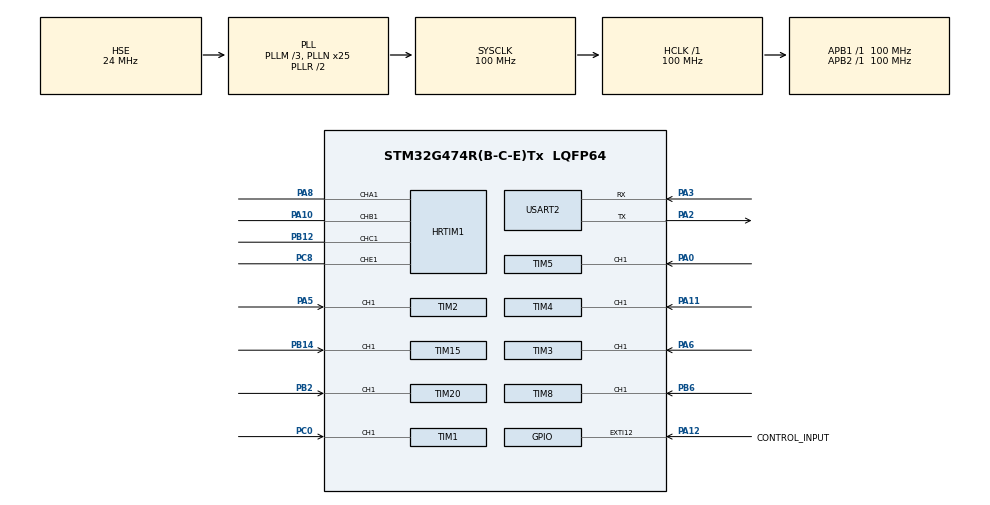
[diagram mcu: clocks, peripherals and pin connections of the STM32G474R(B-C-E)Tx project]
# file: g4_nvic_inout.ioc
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HRTIM1.BurstDMAconfig-Output_TA1=__NULL
HRTIM1.BurstMode-Output_TA1=HRTIM_TIMERBURSTMODE_MAINTAINCLOCK
HRTIM1.CompareUnit1-Output_TA1=HRTIM_COMPAREUNIT_1
HRTIM1.CompareUnit1-Output_TB1=HRTIM_COMPAREUNIT_1
HRTIM1.CompareUnit1-Output_TC1=HRTIM_COMPAREUNIT_1
HRTIM1.CompareUnit1-Output_TE1=HRTIM_COMPAREUNIT_1
HRTIM1.CompareValue1-Output_TE1=0xFFDF
HRTIM1.Enable=HRTIM_BURSTMODECTL_DISABLED
HRTIM1.Event_EEV1=__NULL
HRTIM1.NumberDMARequests_TA=0
HRTIM1.NumberDMARequests_TB=0
HRTIM1.NumberDMARequests_TC=0
HRTIM1.NumberInterruptRequests-Output_TA1=0
HRTIM1.NumberResetSource1-Output_TA1=1
HRTIM1.NumberResetSource1-Output_TB1=1
HRTIM1.NumberResetSource1-Output_TC1=1
HRTIM1.NumberResetSource1-Output_TE1=1
HRTIM1.NumberResetTrigger-Output_TA1=0
HRTIM1.NumberSetSource1-Output_TA1=1
HRTIM1.NumberSetSource1-Output_TB1=1
HRTIM1.NumberSetSource1-Output_TC1=1
HRTIM1.NumberSetSource1-Output_TE1=1
HRTIM1.NumberUpdateTrigger-Output_TA1=1
HRTIM1.NumberUpdateTrigger-Output_TB1=1
HRTIM1.NumberUpdateTrigger-Output_TC1=1
HRTIM1.NumberUpdateTrigger-Output_TE1=1
HRTIM1.PreloadEnable-Output_TA1=HRTIM_PRELOAD_ENABLED
HRTIM1.PreloadEnable-Output_TB1=HRTIM_PRELOAD_ENABLED
HRTIM1.PreloadEnable-Output_TC1=HRTIM_PRELOAD_ENABLED
HRTIM1.PreloadEnable-Output_TE1=HRTIM_PRELOAD_ENABLED
HRTIM1.PrescalerRatio_TA=HRTIM_PRESCALERRATIO_DIV1
HRTIM1.PrescalerRatio_TB=HRTIM_PRESCALERRATIO_DIV1
HRTIM1.PrescalerRatio_TC=HRTIM_PRESCALERRATIO_DIV1
HRTIM1.PrescalerRatio_TE=HRTIM_PRESCALERRATIO_DIV1
HRTIM1.ReSyncUpdate-Output_TA1=HRTIM_TIMERESYNC_UPDATE_CONDITIONAL
HRTIM1.ReSyncUpdate-Output_TB1=HRTIM_TIMERESYNC_UPDATE_CONDITIONAL
HRTIM1.ReSyncUpdate-Output_TC1=HRTIM_TIMERESYNC_UPDATE_CONDITIONAL
HRTIM1.ReSyncUpdate-Output_TE1=HRTIM_TIMERESYNC_UPDATE_CONDITIONAL
HRTIM1.RepetitionUpdate-Output_TA1=HRTIM_UPDATEONREPETITION_ENABLED
HRTIM1.RepetitionUpdate-Output_TB1=HRTIM_UPDATEONREPETITION_ENABLED
HRTIM1.RepetitionUpdate-Output_TC1=HRTIM_UPDATEONREPETITION_ENABLED
HRTIM1.RepetitionUpdate-Output_TE1=HRTIM_UPDATEONREPETITION_ENABLED
HRTIM1.ResetOutput1_Source1-Output_TA1=HRTIM_OUTPUTRESET_TIMCMP1
HRTIM1.ResetOutput1_Source1-Output_TB1=HRTIM_OUTPUTRESET_TIMCMP1
HRTIM1.ResetOutput1_Source1-Output_TC1=HRTIM_OUTPUTRESET_TIMCMP1
HRTIM1.ResetOutput1_Source1-Output_TE1=HRTIM_OUTPUTRESET_TIMCMP1
HRTIM1.ResetUpdate-Output_TA1=HRTIM_TIMUPDATEONRESET_ENABLED
HRTIM1.ResetUpdate-Output_TB1=HRTIM_TIMUPDATEONRESET_ENABLED
HRTIM1.ResetUpdate-Output_TC1=HRTIM_TIMUPDATEONRESET_ENABLED
HRTIM1.ResetUpdate-Output_TE1=HRTIM_TIMUPDATEONRESET_ENABLED
HRTIM1.SetOutput1_Source1-Output_TA1=HRTIM_OUTPUTSET_TIMPER
HRTIM1.SetOutput1_Source1-Output_TB1=HRTIM_OUTPUTSET_TIMPER
HRTIM1.SetOutput1_Source1-Output_TC1=HRTIM_OUTPUTSET_TIMPER
HRTIM1.SetOutput1_Source1-Output_TE1=HRTIM_OUTPUTSET_TIMPER
HRTIM1.UpdateGating-Output_TA1=HRTIM_UPDATEGATING_INDEPENDENT
HRTIM1.UpdateGating-Output_TB1=HRTIM_UPDATEGATING_INDEPENDENT
HRTIM1.UpdateGating-Output_TC1=HRTIM_UPDATEGATING_INDEPENDENT
HRTIM1.UpdateGating-Output_TE1=HRTIM_UPDATEGATING_INDEPENDENT
HRTIM1.UpdateTrigger1-Output_TA1=HRTIM_TIMUPDATETRIGGER_TIMER_A
HRTIM1.UpdateTrigger1-Output_TB1=HRTIM_TIMUPDATETRIGGER_NONE
HRTIM1.UpdateTrigger1-Output_TC1=HRTIM_TIMUPDATETRIGGER_NONE
HRTIM1.UpdateTrigger1-Output_TE1=HRTIM_TIMUPDATETRIGGER_NONE
Mcu.Family=STM32G4
Mcu.Name=STM32G474R(B-C-E)Tx
Mcu.Package=LQFP64
NVIC.PriorityGroup=NVIC_PRIORITYGROUP_4
NVIC.TIM1_BRK_TIM15_IRQn=true\:0\:0\:false\:false\:true\:true\:true\:true
NVIC.TIM20_BRK_IRQn=true\:0\:0\:false\:false\:true\:true\:true\:true
NVIC.TIM2_IRQn=true\:0\:0\:false\:false\:true\:true\:true\:true
NVIC.TIM3_IRQn=true\:0\:0\:false\:false\:true\:true\:true\:true
NVIC.TIM4_IRQn=true\:0\:0\:false\:false\:true\:true\:true\:true
NVIC.TIM5_IRQn=true\:0\:0\:false\:false\:true\:true\:true\:true
NVIC.TIM8_BRK_IRQn=true\:0\:0\:false\:false\:true\:true\:true\:true
NVIC.USART2_IRQn=true\:0\:0\:false\:false\:true\:true\:true\:true
PA0.Signal=S_TIM5_CH1
PA10.Mode=Output_TB1
PA10.Signal=HRTIM1_CHB1
PA11.Signal=S_TIM4_CH1
PA12.GPIO_Label=CONTROL_INPUT
PA12.Signal=GPXTI12
PA2.Mode=Asynchronous
PA2.Signal=USART2_TX
PA3.Mode=Asynchronous
PA3.Signal=USART2_RX
PA5.Signal=S_TIM2_CH1
PA6.Signal=S_TIM3_CH1
PA8.Mode=Output_TA1
PA8.Signal=HRTIM1_CHA1
PB12.Mode=Output_TC1
PB12.Signal=HRTIM1_CHC1
PB14.Signal=S_TIM15_CH1
PB2.Signal=S_TIM20_CH1
PB6.Signal=S_TIM8_CH1
PC0.Signal=S_TIM1_CH1
PC8.Mode=Output_TE1
PC8.Signal=HRTIM1_CHE1
PF0-OSC_IN.Mode=HSE-External-Oscillator
PF0-OSC_IN.Signal=RCC_OSC_IN
PF1-OSC_OUT.Mode=HSE-External-Oscillator
PF1-OSC_OUT.Signal=RCC_OSC_OUT
ProjectManager.HeapSize=0x200
ProjectManager.StackSize=0x400
ProjectManager.TargetToolchain=STM32CubeIDE
RCC.ADC12Freq_Value=100000000
RCC.ADC345Freq_Value=100000000
RCC.AHBFreq_Value=100000000
RCC.APB1Freq_Value=100000000
RCC.APB1TimFreq_Value=100000000
RCC.APB2Freq_Value=100000000
RCC.APB2TimFreq_Value=100000000
RCC.CortexFreq_Value=100000000
RCC.EXTERNAL_CLOCK_VALUE=12288000
RCC.HCLKFreq_Value=100000000
RCC.HSE_VALUE=24000000
RCC.HSI48_VALUE=48000000
RCC.HSI_VALUE=16000000
RCC.LSE_VALUE=32768
RCC.PLLM=RCC_PLLM_DIV3
RCC.PLLN=25
RCC.PLLSourceVirtual=RCC_PLLSOURCE_HSE
RCC.RTCClockSelection=RCC_RTCCLKSOURCE_LSE
RCC.SYSCLKFreq_VALUE=100000000
RCC.SYSCLKSource=RCC_SYSCLKSOURCE_PLLCLK
RCC.USBFreq_Value=100000000
RCC.VCOOutputFreq_Value=200000000
SH.S_TIM15_CH1.0=TIM15_CH1,PWM_Input_1
SH.S_TIM1_CH1.0=TIM1_CH1,PWM_Input_1
SH.S_TIM20_CH1.0=TIM20_CH1,PWM_Input_1
SH.S_TIM2_CH1.0=TIM2_CH1,PWM_Input_1
SH.S_TIM3_CH1.0=TIM3_CH1,PWM_Input_1
SH.S_TIM4_CH1.0=TIM4_CH1,PWM_Input_1
SH.S_TIM5_CH1.0=TIM5_CH1,PWM_Input_1
SH.S_TIM8_CH1.0=TIM8_CH1,PWM_Input_1
TIM1.AutoReloadPreload=TIM_AUTORELOAD_PRELOAD_ENABLE
TIM1.Prescaler=0
TIM1.TIM_MasterOutputTrigger=TIM_TRGO_RESET
TIM1.TIM_MasterOutputTrigger2=TIM_TRGO2_RESET
TIM1.TIM_MasterSlaveMode=TIM_MASTERSLAVEMODE_DISABLE
TIM15.AutoReloadPreload=TIM_AUTORELOAD_PRELOAD_ENABLE
TIM15.Prescaler=0
TIM2.AutoReloadPreload=TIM_AUTORELOAD_PRELOAD_ENABLE
TIM2.ICFilter_1=0
TIM2.ICFilter_2=0
TIM2.Prescaler=0
TIM20.AutoReloadPreload=TIM_AUTORELOAD_PRELOAD_ENABLE
TIM20.Prescaler=0
TIM3.AutoReloadPreload=TIM_AUTORELOAD_PRELOAD_ENABLE
TIM3.Prescaler=0
TIM4.AutoReloadPreload=TIM_AUTORELOAD_PRELOAD_ENABLE
TIM4.Prescaler=0
TIM5.AutoReloadPreload=TIM_AUTORELOAD_PRELOAD_ENABLE
TIM5.Prescaler=0
TIM8.AutoReloadPreload=TIM_AUTORELOAD_PRELOAD_ENABLE
TIM8.Prescaler=0
USART2.FIFOMode=FIFOMODE_ENABLE
USART2.Parity=PARITY_NONE
USART2.VirtualMode-Asynchronous=VM_ASYNC
USART2.WordLength=WORDLENGTH_8B
VP_SYS_VS_DBSignals.Mode=DisableDeadBatterySignals
VP_TIM15_VS_ClockSourceINT.Mode=Internal
VP_TIM1_VS_ClockSourceINT.Mode=Internal
VP_TIM20_VS_ClockSourceINT.Mode=Internal
VP_TIM2_VS_ClockSourceINT.Mode=Internal
VP_TIM3_VS_ClockSourceINT.Mode=Internal
VP_TIM4_VS_ClockSourceINT.Mode=Internal
VP_TIM5_VS_ClockSourceINT.Mode=Internal
VP_TIM8_VS_ClockSourceINT.Mode=Internal
board=NUCLEO-G474RE

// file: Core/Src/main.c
/* USER CODE BEGIN Header */
/**
  ******************************************************************************
  * @file           : main.c
  * @brief          : Main program body
  ******************************************************************************
  * @attention
  *
  * Copyright (c) 2025 STMicroelectronics.
  * All rights reserved.
  *
  * This software is licensed under terms that can be found in the LICENSE file
  * in the root directory of this software component.
  * If no LICENSE file comes with this software, it is provided AS-IS.
  *
  ******************************************************************************
  */
/* USER CODE END Header */
#include "main.h"

/* USER CODE BEGIN PD */

#define HRTIMA_PER_ADDR (&HRTIM1->sTimerxRegs[HRTIM_TIMERINDEX_TIMER_A].PERxR)
#define HRTIMA_CMP1_ADDR (&HRTIM1->sTimerxRegs[HRTIM_TIMERINDEX_TIMER_A].CMP1xR)

#define HRTIMB_PER_ADDR (&HRTIM1->sTimerxRegs[HRTIM_TIMERINDEX_TIMER_B].PERxR)
#define HRTIMB_CMP1_ADDR (&HRTIM1->sTimerxRegs[HRTIM_TIMERINDEX_TIMER_B].CMP1xR)

#define HRTIMC_PER_ADDR (&HRTIM1->sTimerxRegs[HRTIM_TIMERINDEX_TIMER_C].PERxR)
#define HRTIMC_CMP1_ADDR (&HRTIM1->sTimerxRegs[HRTIM_TIMERINDEX_TIMER_C].CMP1xR)

#define HRTIME_PER_ADDR (&HRTIM1->sTimerxRegs[HRTIM_TIMERINDEX_TIMER_E].PERxR)
#define HRTIME_CMP1_ADDR (&HRTIM1->sTimerxRegs[HRTIM_TIMERINDEX_TIMER_E].CMP1xR)
/* USER CODE END PD */

HRTIM_HandleTypeDef hhrtim1;

TIM_HandleTypeDef htim1;
TIM_HandleTypeDef htim2;
TIM_HandleTypeDef htim3;
TIM_HandleTypeDef htim4;
TIM_HandleTypeDef htim5;
TIM_HandleTypeDef htim8;
TIM_HandleTypeDef htim15;
TIM_HandleTypeDef htim20;

UART_HandleTypeDef huart2;

void SystemClock_Config(void);
static void MX_GPIO_Init(void);
static void MX_TIM1_Init(void);
static void MX_TIM2_Init(void);
static void MX_TIM3_Init(void);
static void MX_TIM4_Init(void);
static void MX_TIM5_Init(void);
static void MX_TIM8_Init(void);
static void MX_TIM15_Init(void);
static void MX_TIM20_Init(void);
static void MX_USART2_UART_Init(void);
static void MX_HRTIM1_Init(void);

/* USER CODE BEGIN 0 */

uint16_t oldPerA = 0, oldDurA = 0, oldPerB = 0, oldDurB = 0, oldPerC = 0, oldDurC = 0, oldPerE = 0, oldDurE = 0;
uint16_t newPeriod = 0;
uint16_t newDuration = 0;
void HAL_TIM_IC_CaptureCallback(TIM_HandleTypeDef *htim)
{
	if(!HAL_GPIO_ReadPin (GPIOA, GPIO_PIN_9))
	{
		// HRTIMA1
		if (htim->Instance == htim2.Instance && htim->Channel == HAL_TIM_ACTIVE_CHANNEL_1)
		{
			newPeriod = HAL_TIM_ReadCapturedValue(htim, TIM_CHANNEL_1);
			newDuration = HAL_TIM_ReadCapturedValue(htim, TIM_CHANNEL_2);

			if (oldPerA > (newPeriod + 100) || oldPerA < (newPeriod - 100))
			{
				HRTIM1->sTimerxRegs[HRTIM_TIMERINDEX_TIMER_A].PERxR  = newPeriod;
				oldPerA = newPeriod;
			}
			if (oldDurA > (newDuration + 100) || oldDurA < (newDuration - 100))
			{
				HRTIM1->sTimerxRegs[HRTIM_TIMERINDEX_TIMER_A].CMP1xR = newDuration;
				oldDurA = newDuration;
			}
		}
		// HRTIMB1
		else if (htim->Instance == htim3.Instance && htim->Channel == HAL_TIM_ACTIVE_CHANNEL_1)
		{
			newPeriod = HAL_TIM_ReadCapturedValue(htim, TIM_CHANNEL_1);
			newDuration = HAL_TIM_ReadCapturedValue(htim, TIM_CHANNEL_2);

			if (oldPerB > (newPeriod + 100) || oldPerB < (newPeriod - 100))
			{
				HRTIM1->sTimerxRegs[HRTIM_TIMERINDEX_TIMER_B].PERxR  = newPeriod;
				oldPerB = newPeriod;
			}
			if (oldDurB > (newDuration + 100) || oldDurB < (newDuration - 100))
			{
				HRTIM1->sTimerxRegs[HRTIM_TIMERINDEX_TIMER_B].CMP1xR = newDuration;
				oldDurB = newDuration;
			}
		}
		// HRTIMC1
		else if (htim->Instance == htim5.Instance && htim->Channel == HAL_TIM_ACTIVE_CHANNEL_1)
		{
			newPeriod = HAL_TIM_ReadCapturedValue(htim, TIM_CHANNEL_1);
			newDuration = HAL_TIM_ReadCapturedValue(htim, TIM_CHANNEL_2);

			if (oldPerC > (newPeriod + 100) || oldPerC < (newPeriod - 100))
			{
				HRTIM1->sTimerxRegs[HRTIM_TIMERINDEX_TIMER_C].PERxR  = newPeriod;
				oldPerC = newPeriod;
			}
			if (oldDurC > (newDuration + 100) || oldDurC < (newDuration - 100))
			{
				HRTIM1->sTimerxRegs[HRTIM_TIMERINDEX_TIMER_C].CMP1xR = newDuration;
				oldDurC = newDuration;
			}
		}
		// HRTIMC1
		else if (htim->Instance == htim15.Instance && htim->Channel == HAL_TIM_ACTIVE_CHANNEL_1)
		{
			newPeriod = HAL_TIM_ReadCapturedValue(htim, TIM_CHANNEL_1);
			newDuration = HAL_TIM_ReadCapturedValue(htim, TIM_CHANNEL_2);

			if (oldPerE > (newPeriod + 100) || oldPerE < (newPeriod - 100))
			{
				HRTIM1->sTimerxRegs[HRTIM_TIMERINDEX_TIMER_E].PERxR  = newPeriod;
				oldPerE = newPeriod;
			}
			if (oldDurE > (newDuration + 100) || oldDurE < (newDuration - 100))
			{
				HRTIM1->sTimerxRegs[HRTIM_TIMERINDEX_TIMER_E].CMP1xR = newDuration;
				oldDurE = newDuration;
			}
		}
	}
	else
	{
		// HRTIMA1
		if (htim->Instance == htim1.Instance && htim->Channel == HAL_TIM_ACTIVE_CHANNEL_1)
		{
			newPeriod = HAL_TIM_ReadCapturedValue(htim, TIM_CHANNEL_1);
			newDuration = HAL_TIM_ReadCapturedValue(htim, TIM_CHANNEL_2);

			if (oldPerA > (newPeriod + 100) || oldPerA < (newPeriod - 100))
			{
				HRTIM1->sTimerxRegs[HRTIM_TIMERINDEX_TIMER_A].PERxR  = newPeriod;
				oldPerA = newPeriod;
			}
			if (oldDurA > (newDuration + 100) || oldDurA < (newDuration - 100))
			{
				HRTIM1->sTimerxRegs[HRTIM_TIMERINDEX_TIMER_A].CMP1xR = newDuration;
				oldDurA = newDuration;
			}
		}
		// HRTIMB1
		else if (htim->Instance == htim4.Instance && htim->Channel == HAL_TIM_ACTIVE_CHANNEL_1)
		{
			newPeriod = HAL_TIM_ReadCapturedValue(htim, TIM_CHANNEL_1);
			newDuration = HAL_TIM_ReadCapturedValue(htim, TIM_CHANNEL_2);

			if (oldPerB > (newPeriod + 100) || oldPerB < (newPeriod - 100))
			{
				HRTIM1->sTimerxRegs[HRTIM_TIMERINDEX_TIMER_B].PERxR  = newPeriod;
				oldPerB = newPeriod;
			}
			if (oldDurB > (newDuration + 100) || oldDurB < (newDuration - 100))
			{
				HRTIM1->sTimerxRegs[HRTIM_TIMERINDEX_TIMER_B].CMP1xR = newDuration;
				oldDurB = newDuration;
			}
		}
		// HRTIMC1
		else if (htim->Instance == htim8.Instance && htim->Channel == HAL_TIM_ACTIVE_CHANNEL_1)
		{
			newPeriod = HAL_TIM_ReadCapturedValue(htim, TIM_CHANNEL_1);
			newDuration = HAL_TIM_ReadCapturedValue(htim, TIM_CHANNEL_2);

			if (oldPerC > (newPeriod + 100) || oldPerC < (newPeriod - 100))
			{
				HRTIM1->sTimerxRegs[HRTIM_TIMERINDEX_TIMER_C].PERxR  = newPeriod;
				oldPerC = newPeriod;
			}
			if (oldDurC > (newDuration + 100) || oldDurC < (newDuration - 100))
			{
				HRTIM1->sTimerxRegs[HRTIM_TIMERINDEX_TIMER_C].CMP1xR = newDuration;
				oldDurC = newDuration;
			}
		}
		// HRTIMC1
		else if (htim->Instance == htim20.Instance && htim->Channel == HAL_TIM_ACTIVE_CHANNEL_1)
		{
			newPeriod = HAL_TIM_ReadCapturedValue(htim, TIM_CHANNEL_1);
			newDuration = HAL_TIM_ReadCapturedValue(htim, TIM_CHANNEL_2);

			if (oldPerE > (newPeriod + 100) || oldPerE < (newPeriod - 100))
			{
				HRTIM1->sTimerxRegs[HRTIM_TIMERINDEX_TIMER_E].PERxR  = newPeriod;
				oldPerE = newPeriod;
			}
			if (oldDurE > (newDuration + 100) || oldDurE < (newDuration - 100))
			{
				HRTIM1->sTimerxRegs[HRTIM_TIMERINDEX_TIMER_E].CMP1xR = newDuration;
				oldDurE = newDuration;
			}
		}
	}
}

/* USER CODE END 0 */

int main(void)
{

  /* MCU Configuration--------------------------------------------------------*/

  /* Reset of all peripherals, Initializes the Flash interface and the Systick. */
  HAL_Init();

  /* Configure the system clock */
  SystemClock_Config();

  /* Initialize all configured peripherals */
  MX_GPIO_Init();
  MX_TIM1_Init();
  MX_TIM2_Init();
  MX_TIM3_Init();
  MX_TIM4_Init();
  MX_TIM5_Init();
  MX_TIM8_Init();
  MX_TIM15_Init();
  MX_TIM20_Init();
  MX_USART2_UART_Init();
  MX_HRTIM1_Init();
  /* USER CODE BEGIN 2 */

//  TEST2: INOUT PWM SIGNAL THROUGH ONLY INTERRUPTS
	HAL_TIM_IC_Start_IT(&htim1, TIM_CHANNEL_1);
	HAL_TIM_IC_Start(&htim1, TIM_CHANNEL_2);

	HAL_TIM_IC_Start_IT(&htim2, TIM_CHANNEL_1);
	HAL_TIM_IC_Start(&htim2, TIM_CHANNEL_2);

	HAL_TIM_IC_Start_IT(&htim3, TIM_CHANNEL_1);
	HAL_TIM_IC_Start(&htim3, TIM_CHANNEL_2);

	HAL_TIM_IC_Start_IT(&htim4, TIM_CHANNEL_1);
	HAL_TIM_IC_Start(&htim4, TIM_CHANNEL_2);

	HAL_TIM_IC_Start_IT(&htim5, TIM_CHANNEL_1);
	HAL_TIM_IC_Start(&htim5, TIM_CHANNEL_2);

	HAL_TIM_IC_Start_IT(&htim8, TIM_CHANNEL_1);
	HAL_TIM_IC_Start(&htim8, TIM_CHANNEL_2);

	HAL_TIM_IC_Start_IT(&htim15, TIM_CHANNEL_1);
	HAL_TIM_IC_Start(&htim15, TIM_CHANNEL_2);

	HAL_TIM_IC_Start_IT(&htim20, TIM_CHANNEL_1);
	HAL_TIM_IC_Start(&htim20, TIM_CHANNEL_2);

	HAL_HRTIM_WaveformOutputStart(&hhrtim1, HRTIM_OUTPUT_TA1);
	HAL_HRTIM_WaveformCounterStart(&hhrtim1, HRTIM_TIMERID_TIMER_A);

	HAL_HRTIM_WaveformOutputStart(&hhrtim1, HRTIM_OUTPUT_TB1);
	HAL_HRTIM_WaveformCounterStart(&hhrtim1, HRTIM_TIMERID_TIMER_B);

	HAL_HRTIM_WaveformOutputStart(&hhrtim1, HRTIM_OUTPUT_TC1);
	HAL_HRTIM_WaveformCounterStart(&hhrtim1, HRTIM_TIMERID_TIMER_C);

	HAL_HRTIM_WaveformOutputStart(&hhrtim1, HRTIM_OUTPUT_TE1);
	HAL_HRTIM_WaveformCounterStart(&hhrtim1, HRTIM_TIMERID_TIMER_E);

  /* USER CODE END 2 */

  /* Infinite loop */
  while (1)
  {
  }

}

void SystemClock_Config(void)
{
  RCC_OscInitTypeDef RCC_OscInitStruct = {0};
  RCC_ClkInitTypeDef RCC_ClkInitStruct = {0};

  /** Configure the main internal regulator output voltage
  */
  HAL_PWREx_ControlVoltageScaling(PWR_REGULATOR_VOLTAGE_SCALE1);

  /** Initializes the RCC Oscillators according to the specified parameters
  * in the RCC_OscInitTypeDef structure.
  */
  RCC_OscInitStruct.OscillatorType = RCC_OSCILLATORTYPE_HSE;
  RCC_OscInitStruct.HSEState = RCC_HSE_ON;
  RCC_OscInitStruct.PLL.PLLState = RCC_PLL_ON;
  RCC_OscInitStruct.PLL.PLLSource = RCC_PLLSOURCE_HSE;
  RCC_OscInitStruct.PLL.PLLM = RCC_PLLM_DIV3;
  RCC_OscInitStruct.PLL.PLLN = 25;
  RCC_OscInitStruct.PLL.PLLP = RCC_PLLP_DIV2;
  RCC_OscInitStruct.PLL.PLLQ = RCC_PLLQ_DIV2;
  RCC_OscInitStruct.PLL.PLLR = RCC_PLLR_DIV2;
  if (HAL_RCC_OscConfig(&RCC_OscInitStruct) != HAL_OK)
  {
    Error_Handler();
  }

  /** Initializes the CPU, AHB and APB buses clocks
  */
  RCC_ClkInitStruct.ClockType = RCC_CLOCKTYPE_HCLK|RCC_CLOCKTYPE_SYSCLK
                              |RCC_CLOCKTYPE_PCLK1|RCC_CLOCKTYPE_PCLK2;
  RCC_ClkInitStruct.SYSCLKSource = RCC_SYSCLKSOURCE_PLLCLK;
  RCC_ClkInitStruct.AHBCLKDivider = RCC_SYSCLK_DIV1;
  RCC_ClkInitStruct.APB1CLKDivider = RCC_HCLK_DIV1;
  RCC_ClkInitStruct.APB2CLKDivider = RCC_HCLK_DIV1;

  if (HAL_RCC_ClockConfig(&RCC_ClkInitStruct, FLASH_LATENCY_3) != HAL_OK)
  {
    Error_Handler();
  }
}

static void MX_HRTIM1_Init(void)
{

  HRTIM_TimeBaseCfgTypeDef pTimeBaseCfg = {0};
  HRTIM_TimerCtlTypeDef pTimerCtl = {0};
  HRTIM_TimerCfgTypeDef pTimerCfg = {0};
  HRTIM_CompareCfgTypeDef pCompareCfg = {0};
  HRTIM_OutputCfgTypeDef pOutputCfg = {0};

  hhrtim1.Instance = HRTIM1;
  hhrtim1.Init.HRTIMInterruptResquests = HRTIM_IT_NONE;
  hhrtim1.Init.SyncOptions = HRTIM_SYNCOPTION_NONE;
  if (HAL_HRTIM_Init(&hhrtim1) != HAL_OK)
  {
    Error_Handler();
  }
  if (HAL_HRTIM_DLLCalibrationStart(&hhrtim1, HRTIM_CALIBRATIONRATE_3) != HAL_OK)
  {
    Error_Handler();
  }
  if (HAL_HRTIM_PollForDLLCalibration(&hhrtim1, 10) != HAL_OK)
  {
    Error_Handler();
  }
  pTimeBaseCfg.Period = 0xFFFD;
  pTimeBaseCfg.RepetitionCounter = 0x00;
  pTimeBaseCfg.PrescalerRatio = HRTIM_PRESCALERRATIO_DIV1;
  pTimeBaseCfg.Mode = HRTIM_MODE_CONTINUOUS;
  if (HAL_HRTIM_TimeBaseConfig(&hhrtim1, HRTIM_TIMERINDEX_TIMER_A, &pTimeBaseCfg) != HAL_OK)
  {
    Error_Handler();
  }
  pTimerCtl.UpDownMode = HRTIM_TIMERUPDOWNMODE_UP;
  pTimerCtl.GreaterCMP1 = HRTIM_TIMERGTCMP1_EQUAL;
  pTimerCtl.DualChannelDacEnable = HRTIM_TIMER_DCDE_DISABLED;
  if (HAL_HRTIM_WaveformTimerControl(&hhrtim1, HRTIM_TIMERINDEX_TIMER_A, &pTimerCtl) != HAL_OK)
  {
    Error_Handler();
  }
  pTimerCfg.InterruptRequests = HRTIM_TIM_IT_NONE;
  pTimerCfg.DMARequests = HRTIM_TIM_DMA_NONE;
  pTimerCfg.DMASrcAddress = 0x0000;
  pTimerCfg.DMADstAddress = 0x0000;
  pTimerCfg.DMASize = 0x1;
  pTimerCfg.HalfModeEnable = HRTIM_HALFMODE_DISABLED;
  pTimerCfg.InterleavedMode = HRTIM_INTERLEAVED_MODE_DISABLED;
  pTimerCfg.StartOnSync = HRTIM_SYNCSTART_DISABLED;
  pTimerCfg.ResetOnSync = HRTIM_SYNCRESET_DISABLED;
  pTimerCfg.DACSynchro = HRTIM_DACSYNC_NONE;
  pTimerCfg.PreloadEnable = HRTIM_PRELOAD_ENABLED;
  pTimerCfg.UpdateGating = HRTIM_UPDATEGATING_INDEPENDENT;
  pTimerCfg.BurstMode = HRTIM_TIMERBURSTMODE_MAINTAINCLOCK;
  pTimerCfg.RepetitionUpdate = HRTIM_UPDATEONREPETITION_ENABLED;
  pTimerCfg.PushPull = HRTIM_TIMPUSHPULLMODE_DISABLED;
  pTimerCfg.FaultEnable = HRTIM_TIMFAULTENABLE_NONE;
  pTimerCfg.FaultLock = HRTIM_TIMFAULTLOCK_READWRITE;
  pTimerCfg.DeadTimeInsertion = HRTIM_TIMDEADTIMEINSERTION_DISABLED;
  pTimerCfg.DelayedProtectionMode = HRTIM_TIMER_A_B_C_DELAYEDPROTECTION_DISABLED;
  pTimerCfg.UpdateTrigger = HRTIM_TIMUPDATETRIGGER_TIMER_A;
  pTimerCfg.ResetTrigger = HRTIM_TIMRESETTRIGGER_NONE;
  pTimerCfg.ResetUpdate = HRTIM_TIMUPDATEONRESET_ENABLED;
  pTimerCfg.ReSyncUpdate = HRTIM_TIMERESYNC_UPDATE_CONDITIONAL;
  if (HAL_HRTIM_WaveformTimerConfig(&hhrtim1, HRTIM_TIMERINDEX_TIMER_A, &pTimerCfg) != HAL_OK)
  {
    Error_Handler();
  }
  pTimerCfg.UpdateTrigger = HRTIM_TIMUPDATETRIGGER_NONE;
  if (HAL_HRTIM_WaveformTimerConfig(&hhrtim1, HRTIM_TIMERINDEX_TIMER_B, &pTimerCfg) != HAL_OK)
  {
    Error_Handler();
  }
  if (HAL_HRTIM_WaveformTimerConfig(&hhrtim1, HRTIM_TIMERINDEX_TIMER_C, &pTimerCfg) != HAL_OK)
  {
    Error_Handler();
  }
  pTimerCfg.DelayedProtectionMode = HRTIM_TIMER_D_E_DELAYEDPROTECTION_DISABLED;
  if (HAL_HRTIM_WaveformTimerConfig(&hhrtim1, HRTIM_TIMERINDEX_TIMER_E, &pTimerCfg) != HAL_OK)
  {
    Error_Handler();
  }
  pCompareCfg.CompareValue = 0xFFFD;
  if (HAL_HRTIM_WaveformCompareConfig(&hhrtim1, HRTIM_TIMERINDEX_TIMER_A, HRTIM_COMPAREUNIT_1, &pCompareCfg) != HAL_OK)
  {
    Error_Handler();
  }
  pOutputCfg.Polarity = HRTIM_OUTPUTPOLARITY_HIGH;
  pOutputCfg.SetSource = HRTIM_OUTPUTSET_TIMPER;
  pOutputCfg.ResetSource = HRTIM_OUTPUTRESET_TIMCMP1;
  pOutputCfg.IdleMode = HRTIM_OUTPUTIDLEMODE_NONE;
  pOutputCfg.IdleLevel = HRTIM_OUTPUTIDLELEVEL_INACTIVE;
  pOutputCfg.FaultLevel = HRTIM_OUTPUTFAULTLEVEL_NONE;
  pOutputCfg.ChopperModeEnable = HRTIM_OUTPUTCHOPPERMODE_DISABLED;
  pOutputCfg.BurstModeEntryDelayed = HRTIM_OUTPUTBURSTMODEENTRY_REGULAR;
  if (HAL_HRTIM_WaveformOutputConfig(&hhrtim1, HRTIM_TIMERINDEX_TIMER_A, HRTIM_OUTPUT_TA1, &pOutputCfg) != HAL_OK)
  {
    Error_Handler();
  }
  if (HAL_HRTIM_WaveformOutputConfig(&hhrtim1, HRTIM_TIMERINDEX_TIMER_B, HRTIM_OUTPUT_TB1, &pOutputCfg) != HAL_OK)
  {
    Error_Handler();
  }
  if (HAL_HRTIM_WaveformOutputConfig(&hhrtim1, HRTIM_TIMERINDEX_TIMER_C, HRTIM_OUTPUT_TC1, &pOutputCfg) != HAL_OK)
  {
    Error_Handler();
  }
  if (HAL_HRTIM_WaveformOutputConfig(&hhrtim1, HRTIM_TIMERINDEX_TIMER_E, HRTIM_OUTPUT_TE1, &pOutputCfg) != HAL_OK)
  {
    Error_Handler();
  }
  if (HAL_HRTIM_TimeBaseConfig(&hhrtim1, HRTIM_TIMERINDEX_TIMER_B, &pTimeBaseCfg) != HAL_OK)
  {
    Error_Handler();
  }
  if (HAL_HRTIM_WaveformTimerControl(&hhrtim1, HRTIM_TIMERINDEX_TIMER_B, &pTimerCtl) != HAL_OK)
  {
    Error_Handler();
  }
  if (HAL_HRTIM_WaveformCompareConfig(&hhrtim1, HRTIM_TIMERINDEX_TIMER_B, HRTIM_COMPAREUNIT_1, &pCompareCfg) != HAL_OK)
  {
    Error_Handler();
  }
  if (HAL_HRTIM_TimeBaseConfig(&hhrtim1, HRTIM_TIMERINDEX_TIMER_C, &pTimeBaseCfg) != HAL_OK)
  {
    Error_Handler();
  }
  if (HAL_HRTIM_WaveformTimerControl(&hhrtim1, HRTIM_TIMERINDEX_TIMER_C, &pTimerCtl) != HAL_OK)
  {
    Error_Handler();
  }
  if (HAL_HRTIM_WaveformCompareConfig(&hhrtim1, HRTIM_TIMERINDEX_TIMER_C, HRTIM_COMPAREUNIT_1, &pCompareCfg) != HAL_OK)
  {
    Error_Handler();
  }
  if (HAL_HRTIM_TimeBaseConfig(&hhrtim1, HRTIM_TIMERINDEX_TIMER_E, &pTimeBaseCfg) != HAL_OK)
  {
    Error_Handler();
  }
  if (HAL_HRTIM_WaveformTimerControl(&hhrtim1, HRTIM_TIMERINDEX_TIMER_E, &pTimerCtl) != HAL_OK)
  {
    Error_Handler();
  }
  pCompareCfg.CompareValue = 0xFFDF;
  if (HAL_HRTIM_WaveformCompareConfig(&hhrtim1, HRTIM_TIMERINDEX_TIMER_E, HRTIM_COMPAREUNIT_1, &pCompareCfg) != HAL_OK)
  {
    Error_Handler();
  }
  HAL_HRTIM_MspPostInit(&hhrtim1);

}

static void MX_TIM1_Init(void)
{

  TIM_ClockConfigTypeDef sClockSourceConfig = {0};
  TIM_SlaveConfigTypeDef sSlaveConfig = {0};
  TIM_IC_InitTypeDef sConfigIC = {0};
  TIM_MasterConfigTypeDef sMasterConfig = {0};

  htim1.Instance = TIM1;
  htim1.Init.Prescaler = 0;
  htim1.Init.CounterMode = TIM_COUNTERMODE_UP;
  htim1.Init.Period = 65535;
  htim1.Init.ClockDivision = TIM_CLOCKDIVISION_DIV1;
  htim1.Init.RepetitionCounter = 0;
  htim1.Init.AutoReloadPreload = TIM_AUTORELOAD_PRELOAD_ENABLE;
  if (HAL_TIM_Base_Init(&htim1) != HAL_OK)
  {
    Error_Handler();
  }
  sClockSourceConfig.ClockSource = TIM_CLOCKSOURCE_INTERNAL;
  if (HAL_TIM_ConfigClockSource(&htim1, &sClockSourceConfig) != HAL_OK)
  {
    Error_Handler();
  }
  if (HAL_TIM_IC_Init(&htim1) != HAL_OK)
  {
    Error_Handler();
  }
  sSlaveConfig.SlaveMode = TIM_SLAVEMODE_RESET;
  sSlaveConfig.InputTrigger = TIM_TS_TI1FP1;
  sSlaveConfig.TriggerPolarity = TIM_INPUTCHANNELPOLARITY_RISING;
  sSlaveConfig.TriggerPrescaler = TIM_ICPSC_DIV1;
  sSlaveConfig.TriggerFilter = 0;
  if (HAL_TIM_SlaveConfigSynchro(&htim1, &sSlaveConfig) != HAL_OK)
  {
    Error_Handler();
  }
  sConfigIC.ICPolarity = TIM_INPUTCHANNELPOLARITY_RISING;
  sConfigIC.ICSelection = TIM_ICSELECTION_DIRECTTI;
  sConfigIC.ICPrescaler = TIM_ICPSC_DIV1;
  sConfigIC.ICFilter = 0;
  if (HAL_TIM_IC_ConfigChannel(&htim1, &sConfigIC, TIM_CHANNEL_1) != HAL_OK)
  {
    Error_Handler();
  }
  sConfigIC.ICPolarity = TIM_INPUTCHANNELPOLARITY_FALLING;
  sConfigIC.ICSelection = TIM_ICSELECTION_INDIRECTTI;
  if (HAL_TIM_IC_ConfigChannel(&htim1, &sConfigIC, TIM_CHANNEL_2) != HAL_OK)
  {
    Error_Handler();
  }
  sMasterConfig.MasterOutputTrigger = TIM_TRGO_RESET;
  sMasterConfig.MasterOutputTrigger2 = TIM_TRGO2_RESET;
  sMasterConfig.MasterSlaveMode = TIM_MASTERSLAVEMODE_DISABLE;
  if (HAL_TIMEx_MasterConfigSynchronization(&htim1, &sMasterConfig) != HAL_OK)
  {
    Error_Handler();
  }

}

static void MX_TIM2_Init(void)
{

  TIM_ClockConfigTypeDef sClockSourceConfig = {0};
  TIM_SlaveConfigTypeDef sSlaveConfig = {0};
  TIM_IC_InitTypeDef sConfigIC = {0};
  TIM_MasterConfigTypeDef sMasterConfig = {0};

  htim2.Instance = TIM2;
  htim2.Init.Prescaler = 0;
  htim2.Init.CounterMode = TIM_COUNTERMODE_UP;
  htim2.Init.Period = 4294967295;
  htim2.Init.ClockDivision = TIM_CLOCKDIVISION_DIV1;
  htim2.Init.AutoReloadPreload = TIM_AUTORELOAD_PRELOAD_ENABLE;
  if (HAL_TIM_Base_Init(&htim2) != HAL_OK)
  {
    Error_Handler();
  }
  sClockSourceConfig.ClockSource = TIM_CLOCKSOURCE_INTERNAL;
  if (HAL_TIM_ConfigClockSource(&htim2, &sClockSourceConfig) != HAL_OK)
  {
    Error_Handler();
  }
  if (HAL_TIM_IC_Init(&htim2) != HAL_OK)
  {
    Error_Handler();
  }
  sSlaveConfig.SlaveMode = TIM_SLAVEMODE_RESET;
  sSlaveConfig.InputTrigger = TIM_TS_TI1FP1;
  sSlaveConfig.TriggerPolarity = TIM_INPUTCHANNELPOLARITY_RISING;
  sSlaveConfig.TriggerPrescaler = TIM_ICPSC_DIV1;
  sSlaveConfig.TriggerFilter = 0;
  if (HAL_TIM_SlaveConfigSynchro(&htim2, &sSlaveConfig) != HAL_OK)
  {
    Error_Handler();
  }
  sConfigIC.ICPolarity = TIM_INPUTCHANNELPOLARITY_RISING;
  sConfigIC.ICSelection = TIM_ICSELECTION_DIRECTTI;
  sConfigIC.ICPrescaler = TIM_ICPSC_DIV1;
  sConfigIC.ICFilter = 0;
  if (HAL_TIM_IC_ConfigChannel(&htim2, &sConfigIC, TIM_CHANNEL_1) != HAL_OK)
  {
    Error_Handler();
  }
  sConfigIC.ICPolarity = TIM_INPUTCHANNELPOLARITY_FALLING;
  sConfigIC.ICSelection = TIM_ICSELECTION_INDIRECTTI;
  if (HAL_TIM_IC_ConfigChannel(&htim2, &sConfigIC, TIM_CHANNEL_2) != HAL_OK)
  {
    Error_Handler();
  }
  sMasterConfig.MasterOutputTrigger = TIM_TRGO_RESET;
  sMasterConfig.MasterSlaveMode = TIM_MASTERSLAVEMODE_DISABLE;
  if (HAL_TIMEx_MasterConfigSynchronization(&htim2, &sMasterConfig) != HAL_OK)
  {
    Error_Handler();
  }

}

static void MX_TIM3_Init(void)
{

  TIM_ClockConfigTypeDef sClockSourceConfig = {0};
  TIM_SlaveConfigTypeDef sSlaveConfig = {0};
  TIM_IC_InitTypeDef sConfigIC = {0};
  TIM_MasterConfigTypeDef sMasterConfig = {0};

  htim3.Instance = TIM3;
  htim3.Init.Prescaler = 0;
  htim3.Init.CounterMode = TIM_COUNTERMODE_UP;
  htim3.Init.Period = 65535;
  htim3.Init.ClockDivision = TIM_CLOCKDIVISION_DIV1;
  htim3.Init.AutoReloadPreload = TIM_AUTORELOAD_PRELOAD_ENABLE;
  if (HAL_TIM_Base_Init(&htim3) != HAL_OK)
  {
    Error_Handler();
  }
  sClockSourceConfig.ClockSource = TIM_CLOCKSOURCE_INTERNAL;
  if (HAL_TIM_ConfigClockSource(&htim3, &sClockSourceConfig) != HAL_OK)
  {
    Error_Handler();
  }
  if (HAL_TIM_IC_Init(&htim3) != HAL_OK)
  {
    Error_Handler();
  }
  sSlaveConfig.SlaveMode = TIM_SLAVEMODE_RESET;
  sSlaveConfig.InputTrigger = TIM_TS_TI1FP1;
  sSlaveConfig.TriggerPolarity = TIM_INPUTCHANNELPOLARITY_RISING;
  sSlaveConfig.TriggerPrescaler = TIM_ICPSC_DIV1;
  sSlaveConfig.TriggerFilter = 0;
  if (HAL_TIM_SlaveConfigSynchro(&htim3, &sSlaveConfig) != HAL_OK)
  {
    Error_Handler();
  }
  sConfigIC.ICPolarity = TIM_INPUTCHANNELPOLARITY_RISING;
  sConfigIC.ICSelection = TIM_ICSELECTION_DIRECTTI;
  sConfigIC.ICPrescaler = TIM_ICPSC_DIV1;
  sConfigIC.ICFilter = 0;
  if (HAL_TIM_IC_ConfigChannel(&htim3, &sConfigIC, TIM_CHANNEL_1) != HAL_OK)
  {
    Error_Handler();
  }
  sConfigIC.ICPolarity = TIM_INPUTCHANNELPOLARITY_FALLING;
  sConfigIC.ICSelection = TIM_ICSELECTION_INDIRECTTI;
  if (HAL_TIM_IC_ConfigChannel(&htim3, &sConfigIC, TIM_CHANNEL_2) != HAL_OK)
  {
    Error_Handler();
  }
  sMasterConfig.MasterOutputTrigger = TIM_TRGO_RESET;
  sMasterConfig.MasterSlaveMode = TIM_MASTERSLAVEMODE_DISABLE;
  if (HAL_TIMEx_MasterConfigSynchronization(&htim3, &sMasterConfig) != HAL_OK)
  {
    Error_Handler();
  }

}

static void MX_TIM4_Init(void)
{

  TIM_ClockConfigTypeDef sClockSourceConfig = {0};
  TIM_SlaveConfigTypeDef sSlaveConfig = {0};
  TIM_IC_InitTypeDef sConfigIC = {0};
  TIM_MasterConfigTypeDef sMasterConfig = {0};

  htim4.Instance = TIM4;
  htim4.Init.Prescaler = 0;
  htim4.Init.CounterMode = TIM_COUNTERMODE_UP;
  htim4.Init.Period = 65535;
  htim4.Init.ClockDivision = TIM_CLOCKDIVISION_DIV1;
  htim4.Init.AutoReloadPreload = TIM_AUTORELOAD_PRELOAD_ENABLE;
  if (HAL_TIM_Base_Init(&htim4) != HAL_OK)
  {
    Error_Handler();
  }
  sClockSourceConfig.ClockSource = TIM_CLOCKSOURCE_INTERNAL;
  if (HAL_TIM_ConfigClockSource(&htim4, &sClockSourceConfig) != HAL_OK)
  {
    Error_Handler();
  }
  if (HAL_TIM_IC_Init(&htim4) != HAL_OK)
  {
    Error_Handler();
  }
  sSlaveConfig.SlaveMode = TIM_SLAVEMODE_RESET;
  sSlaveConfig.InputTrigger = TIM_TS_TI1FP1;
  sSlaveConfig.TriggerPolarity = TIM_INPUTCHANNELPOLARITY_RISING;
  sSlaveConfig.TriggerPrescaler = TIM_ICPSC_DIV1;
  sSlaveConfig.TriggerFilter = 0;
  if (HAL_TIM_SlaveConfigSynchro(&htim4, &sSlaveConfig) != HAL_OK)
  {
    Error_Handler();
  }
  sConfigIC.ICPolarity = TIM_INPUTCHANNELPOLARITY_RISING;
  sConfigIC.ICSelection = TIM_ICSELECTION_DIRECTTI;
  sConfigIC.ICPrescaler = TIM_ICPSC_DIV1;
  sConfigIC.ICFilter = 0;
  if (HAL_TIM_IC_ConfigChannel(&htim4, &sConfigIC, TIM_CHANNEL_1) != HAL_OK)
  {
    Error_Handler();
  }
  sConfigIC.ICPolarity = TIM_INPUTCHANNELPOLARITY_FALLING;
  sConfigIC.ICSelection = TIM_ICSELECTION_INDIRECTTI;
  if (HAL_TIM_IC_ConfigChannel(&htim4, &sConfigIC, TIM_CHANNEL_2) != HAL_OK)
  {
    Error_Handler();
  }
  sMasterConfig.MasterOutputTrigger = TIM_TRGO_RESET;
  sMasterConfig.MasterSlaveMode = TIM_MASTERSLAVEMODE_DISABLE;
  if (HAL_TIMEx_MasterConfigSynchronization(&htim4, &sMasterConfig) != HAL_OK)
  {
    Error_Handler();
  }

}

static void MX_TIM5_Init(void)
{

  TIM_ClockConfigTypeDef sClockSourceConfig = {0};
  TIM_SlaveConfigTypeDef sSlaveConfig = {0};
  TIM_IC_InitTypeDef sConfigIC = {0};
  TIM_MasterConfigTypeDef sMasterConfig = {0};

  htim5.Instance = TIM5;
  htim5.Init.Prescaler = 0;
  htim5.Init.CounterMode = TIM_COUNTERMODE_UP;
  htim5.Init.Period = 4294967295;
  htim5.Init.ClockDivision = TIM_CLOCKDIVISION_DIV1;
  htim5.Init.AutoReloadPreload = TIM_AUTORELOAD_PRELOAD_ENABLE;
  if (HAL_TIM_Base_Init(&htim5) != HAL_OK)
  {
    Error_Handler();
  }
  sClockSourceConfig.ClockSource = TIM_CLOCKSOURCE_INTERNAL;
  if (HAL_TIM_ConfigClockSource(&htim5, &sClockSourceConfig) != HAL_OK)
  {
    Error_Handler();
  }
  if (HAL_TIM_IC_Init(&htim5) != HAL_OK)
  {
    Error_Handler();
  }
  sSlaveConfig.SlaveMode = TIM_SLAVEMODE_RESET;
  sSlaveConfig.InputTrigger = TIM_TS_TI1FP1;
  sSlaveConfig.TriggerPolarity = TIM_INPUTCHANNELPOLARITY_RISING;
  sSlaveConfig.TriggerPrescaler = TIM_ICPSC_DIV1;
  sSlaveConfig.TriggerFilter = 0;
  if (HAL_TIM_SlaveConfigSynchro(&htim5, &sSlaveConfig) != HAL_OK)
  {
    Error_Handler();
  }
  sConfigIC.ICPolarity = TIM_INPUTCHANNELPOLARITY_RISING;
  sConfigIC.ICSelection = TIM_ICSELECTION_DIRECTTI;
  sConfigIC.ICPrescaler = TIM_ICPSC_DIV1;
  sConfigIC.ICFilter = 0;
  if (HAL_TIM_IC_ConfigChannel(&htim5, &sConfigIC, TIM_CHANNEL_1) != HAL_OK)
  {
    Error_Handler();
  }
  sConfigIC.ICPolarity = TIM_INPUTCHANNELPOLARITY_FALLING;
  sConfigIC.ICSelection = TIM_ICSELECTION_INDIRECTTI;
  if (HAL_TIM_IC_ConfigChannel(&htim5, &sConfigIC, TIM_CHANNEL_2) != HAL_OK)
  {
    Error_Handler();
  }
  sMasterConfig.MasterOutputTrigger = TIM_TRGO_RESET;
  sMasterConfig.MasterSlaveMode = TIM_MASTERSLAVEMODE_DISABLE;
  if (HAL_TIMEx_MasterConfigSynchronization(&htim5, &sMasterConfig) != HAL_OK)
  {
    Error_Handler();
  }

}

static void MX_TIM8_Init(void)
{

  TIM_ClockConfigTypeDef sClockSourceConfig = {0};
  TIM_SlaveConfigTypeDef sSlaveConfig = {0};
  TIM_IC_InitTypeDef sConfigIC = {0};
  TIM_MasterConfigTypeDef sMasterConfig = {0};

  htim8.Instance = TIM8;
  htim8.Init.Prescaler = 0;
  htim8.Init.CounterMode = TIM_COUNTERMODE_UP;
  htim8.Init.Period = 65535;
  htim8.Init.ClockDivision = TIM_CLOCKDIVISION_DIV1;
  htim8.Init.RepetitionCounter = 0;
  htim8.Init.AutoReloadPreload = TIM_AUTORELOAD_PRELOAD_ENABLE;
  if (HAL_TIM_Base_Init(&htim8) != HAL_OK)
  {
    Error_Handler();
  }
  sClockSourceConfig.ClockSource = TIM_CLOCKSOURCE_INTERNAL;
  if (HAL_TIM_ConfigClockSource(&htim8, &sClockSourceConfig) != HAL_OK)
  {
    Error_Handler();
  }
  if (HAL_TIM_IC_Init(&htim8) != HAL_OK)
  {
    Error_Handler();
  }
  sSlaveConfig.SlaveMode = TIM_SLAVEMODE_RESET;
  sSlaveConfig.InputTrigger = TIM_TS_TI1FP1;
  sSlaveConfig.TriggerPolarity = TIM_INPUTCHANNELPOLARITY_RISING;
  sSlaveConfig.TriggerPrescaler = TIM_ICPSC_DIV1;
  sSlaveConfig.TriggerFilter = 0;
  if (HAL_TIM_SlaveConfigSynchro(&htim8, &sSlaveConfig) != HAL_OK)
  {
    Error_Handler();
  }
  sConfigIC.ICPolarity = TIM_INPUTCHANNELPOLARITY_RISING;
  sConfigIC.ICSelection = TIM_ICSELECTION_DIRECTTI;
  sConfigIC.ICPrescaler = TIM_ICPSC_DIV1;
  sConfigIC.ICFilter = 0;
  if (HAL_TIM_IC_ConfigChannel(&htim8, &sConfigIC, TIM_CHANNEL_1) != HAL_OK)
  {
    Error_Handler();
  }
  sConfigIC.ICPolarity = TIM_INPUTCHANNELPOLARITY_FALLING;
  sConfigIC.ICSelection = TIM_ICSELECTION_INDIRECTTI;
  if (HAL_TIM_IC_ConfigChannel(&htim8, &sConfigIC, TIM_CHANNEL_2) != HAL_OK)
  {
    Error_Handler();
  }
  sMasterConfig.MasterOutputTrigger = TIM_TRGO_RESET;
  sMasterConfig.MasterOutputTrigger2 = TIM_TRGO2_RESET;
  sMasterConfig.MasterSlaveMode = TIM_MASTERSLAVEMODE_DISABLE;
  if (HAL_TIMEx_MasterConfigSynchronization(&htim8, &sMasterConfig) != HAL_OK)
  {
    Error_Handler();
  }

}

static void MX_TIM15_Init(void)
{

  TIM_ClockConfigTypeDef sClockSourceConfig = {0};
  TIM_SlaveConfigTypeDef sSlaveConfig = {0};
  TIM_IC_InitTypeDef sConfigIC = {0};
  TIM_MasterConfigTypeDef sMasterConfig = {0};

  htim15.Instance = TIM15;
  htim15.Init.Prescaler = 0;
  htim15.Init.CounterMode = TIM_COUNTERMODE_UP;
  htim15.Init.Period = 65535;
  htim15.Init.ClockDivision = TIM_CLOCKDIVISION_DIV1;
  htim15.Init.RepetitionCounter = 0;
  htim15.Init.AutoReloadPreload = TIM_AUTORELOAD_PRELOAD_ENABLE;
  if (HAL_TIM_Base_Init(&htim15) != HAL_OK)
  {
    Error_Handler();
  }
  sClockSourceConfig.ClockSource = TIM_CLOCKSOURCE_INTERNAL;
  if (HAL_TIM_ConfigClockSource(&htim15, &sClockSourceConfig) != HAL_OK)
  {
    Error_Handler();
  }
  if (HAL_TIM_IC_Init(&htim15) != HAL_OK)
  {
    Error_Handler();
  }
  sSlaveConfig.SlaveMode = TIM_SLAVEMODE_RESET;
  sSlaveConfig.InputTrigger = TIM_TS_TI1FP1;
  sSlaveConfig.TriggerPolarity = TIM_INPUTCHANNELPOLARITY_RISING;
  sSlaveConfig.TriggerPrescaler = TIM_ICPSC_DIV1;
  sSlaveConfig.TriggerFilter = 0;
  if (HAL_TIM_SlaveConfigSynchro(&htim15, &sSlaveConfig) != HAL_OK)
  {
    Error_Handler();
  }
  sConfigIC.ICPolarity = TIM_INPUTCHANNELPOLARITY_RISING;
  sConfigIC.ICSelection = TIM_ICSELECTION_DIRECTTI;
  sConfigIC.ICPrescaler = TIM_ICPSC_DIV1;
  sConfigIC.ICFilter = 0;
  if (HAL_TIM_IC_ConfigChannel(&htim15, &sConfigIC, TIM_CHANNEL_1) != HAL_OK)
  {
    Error_Handler();
  }
  sConfigIC.ICPolarity = TIM_INPUTCHANNELPOLARITY_FALLING;
  sConfigIC.ICSelection = TIM_ICSELECTION_INDIRECTTI;
  if (HAL_TIM_IC_ConfigChannel(&htim15, &sConfigIC, TIM_CHANNEL_2) != HAL_OK)
  {
    Error_Handler();
  }
  sMasterConfig.MasterOutputTrigger = TIM_TRGO_RESET;
  sMasterConfig.MasterSlaveMode = TIM_MASTERSLAVEMODE_DISABLE;
  if (HAL_TIMEx_MasterConfigSynchronization(&htim15, &sMasterConfig) != HAL_OK)
  {
    Error_Handler();
  }

}

static void MX_TIM20_Init(void)
{

  TIM_ClockConfigTypeDef sClockSourceConfig = {0};
  TIM_SlaveConfigTypeDef sSlaveConfig = {0};
  TIM_IC_InitTypeDef sConfigIC = {0};
  TIM_MasterConfigTypeDef sMasterConfig = {0};

  htim20.Instance = TIM20;
  htim20.Init.Prescaler = 0;
  htim20.Init.CounterMode = TIM_COUNTERMODE_UP;
  htim20.Init.Period = 65535;
  htim20.Init.ClockDivision = TIM_CLOCKDIVISION_DIV1;
  htim20.Init.RepetitionCounter = 0;
  htim20.Init.AutoReloadPreload = TIM_AUTORELOAD_PRELOAD_ENABLE;
  if (HAL_TIM_Base_Init(&htim20) != HAL_OK)
  {
    Error_Handler();
  }
  sClockSourceConfig.ClockSource = TIM_CLOCKSOURCE_INTERNAL;
  if (HAL_TIM_ConfigClockSource(&htim20, &sClockSourceConfig) != HAL_OK)
  {
    Error_Handler();
  }
  if (HAL_TIM_IC_Init(&htim20) != HAL_OK)
  {
    Error_Handler();
  }
  sSlaveConfig.SlaveMode = TIM_SLAVEMODE_RESET;
  sSlaveConfig.InputTrigger = TIM_TS_TI1FP1;
  sSlaveConfig.TriggerPolarity = TIM_INPUTCHANNELPOLARITY_RISING;
  sSlaveConfig.TriggerPrescaler = TIM_ICPSC_DIV1;
  sSlaveConfig.TriggerFilter = 0;
  if (HAL_TIM_SlaveConfigSynchro(&htim20, &sSlaveConfig) != HAL_OK)
  {
    Error_Handler();
  }
  sConfigIC.ICPolarity = TIM_INPUTCHANNELPOLARITY_RISING;
  sConfigIC.ICSelection = TIM_ICSELECTION_DIRECTTI;
  sConfigIC.ICPrescaler = TIM_ICPSC_DIV1;
  sConfigIC.ICFilter = 0;
  if (HAL_TIM_IC_ConfigChannel(&htim20, &sConfigIC, TIM_CHANNEL_1) != HAL_OK)
  {
    Error_Handler();
  }
  sConfigIC.ICPolarity = TIM_INPUTCHANNELPOLARITY_FALLING;
  sConfigIC.ICSelection = TIM_ICSELECTION_INDIRECTTI;
  if (HAL_TIM_IC_ConfigChannel(&htim20, &sConfigIC, TIM_CHANNEL_2) != HAL_OK)
  {
    Error_Handler();
  }
  sMasterConfig.MasterOutputTrigger = TIM_TRGO_RESET;
  sMasterConfig.MasterOutputTrigger2 = TIM_TRGO2_RESET;
  sMasterConfig.MasterSlaveMode = TIM_MASTERSLAVEMODE_DISABLE;
  if (HAL_TIMEx_MasterConfigSynchronization(&htim20, &sMasterConfig) != HAL_OK)
  {
    Error_Handler();
  }

}

static void MX_USART2_UART_Init(void)
{

  huart2.Instance = USART2;
  huart2.Init.BaudRate = 115200;
  huart2.Init.WordLength = UART_WORDLENGTH_8B;
  huart2.Init.StopBits = UART_STOPBITS_1;
  huart2.Init.Parity = UART_PARITY_NONE;
  huart2.Init.Mode = UART_MODE_TX_RX;
  huart2.Init.HwFlowCtl = UART_HWCONTROL_NONE;
  huart2.Init.OverSampling = UART_OVERSAMPLING_16;
  huart2.Init.OneBitSampling = UART_ONE_BIT_SAMPLE_DISABLE;
  huart2.Init.ClockPrescaler = UART_PRESCALER_DIV1;
  huart2.AdvancedInit.AdvFeatureInit = UART_ADVFEATURE_NO_INIT;
  if (HAL_UART_Init(&huart2) != HAL_OK)
  {
    Error_Handler();
  }
  if (HAL_UARTEx_SetTxFifoThreshold(&huart2, UART_TXFIFO_THRESHOLD_1_8) != HAL_OK)
  {
    Error_Handler();
  }
  if (HAL_UARTEx_SetRxFifoThreshold(&huart2, UART_RXFIFO_THRESHOLD_1_8) != HAL_OK)
  {
    Error_Handler();
  }
  if (HAL_UARTEx_EnableFifoMode(&huart2) != HAL_OK)
  {
    Error_Handler();
  }

}

static void MX_GPIO_Init(void)
{
  GPIO_InitTypeDef GPIO_InitStruct = {0};

  /* GPIO Ports Clock Enable */
  __HAL_RCC_GPIOF_CLK_ENABLE();
  __HAL_RCC_GPIOC_CLK_ENABLE();
  __HAL_RCC_GPIOA_CLK_ENABLE();
  __HAL_RCC_GPIOB_CLK_ENABLE();

  /*Configure GPIO pin : CONTROL_INPUT_Pin */
  GPIO_InitStruct.Pin = CONTROL_INPUT_Pin;
  GPIO_InitStruct.Mode = GPIO_MODE_IT_RISING;
  GPIO_InitStruct.Pull = GPIO_NOPULL;
  HAL_GPIO_Init(CONTROL_INPUT_GPIO_Port, &GPIO_InitStruct);

}

void Error_Handler(void)
{
  __disable_irq();
  while (1)
  {
  }
}
